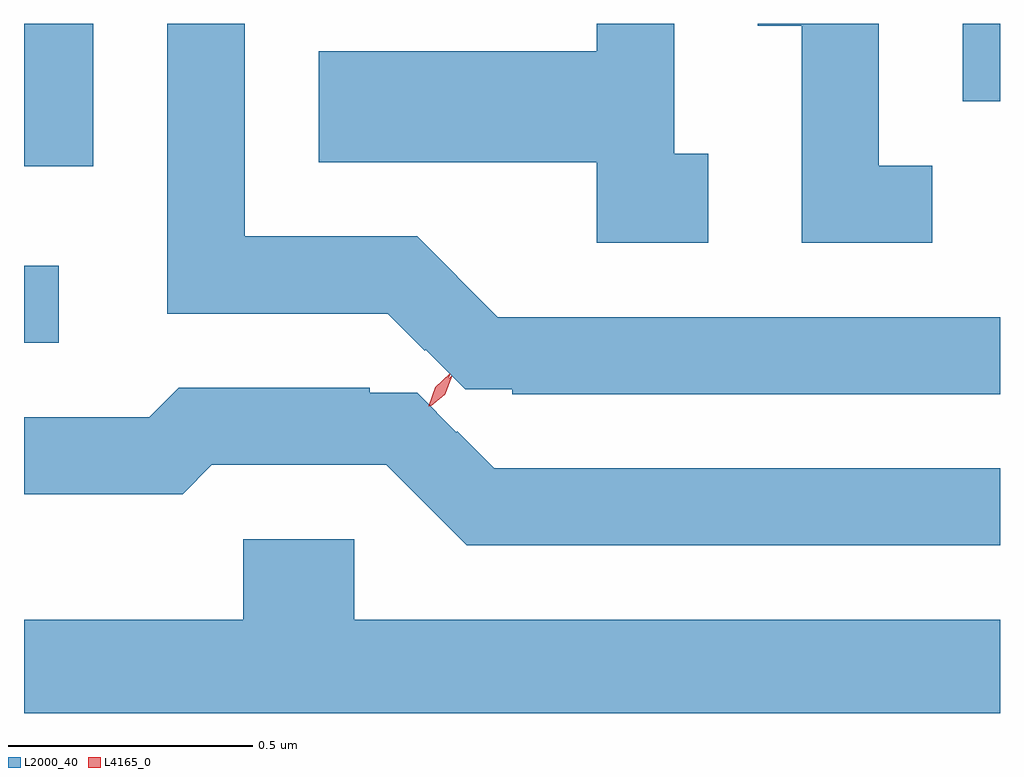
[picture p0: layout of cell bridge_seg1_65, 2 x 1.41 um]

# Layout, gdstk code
import gdstk
lib = gdstk.Library(unit=1e-6, precision=1e-09)
def R(c, l, rs):  # rectangles x0, y0, x1, y1
    for r in rs: c.add(gdstk.rectangle(r[:2], r[2:], *l))
def P(c, l, *ps):  # polygons
    for p in ps: c.add(gdstk.Polygon(p, *l))
L2000_40 = (2000, 40)
L4165_0 = (4165, 0)

bridge_seg1_65 = lib.new_cell('bridge_seg1_65')
R(bridge_seg1_65, L2000_40, [(1895.907,840.471,1895.978,840.629), (1895.907,840.833,1896.049,841.125), (1897.831,840.966,1897.907,841.125)])
P(bridge_seg1_65, L2000_40, [(1897.768,840.834),(1897.659,840.834),(1897.659,841.125),(1897.411,841.125),(1897.411,841.121),(1897.501,841.121),(1897.501,840.676),(1897.768,840.676)],
  [(1897.309,840.859),(1897.239,840.859),(1897.239,841.125),(1897.081,841.125),(1897.081,841.069),(1896.511,841.069),(1896.511,840.841),(1897.081,840.841),(1897.081,840.676),(1897.309,840.676)],
  [(1897.907,840.524),(1896.878,840.524),(1896.713,840.689),(1896.359,840.689),(1896.359,841.125),(1896.201,841.125),(1896.201,840.531),(1896.652,840.531),(1896.728,840.455),(1896.73,840.457),(1896.811,840.376),(1896.908,840.376),(1896.908,840.366),(1897.907,840.366)],
  [(1897.907,840.214),(1896.871,840.214),(1896.795,840.29),(1896.793,840.288),(1896.713,840.369),(1896.615,840.369),(1896.615,840.379),(1896.224,840.379),(1896.164,840.319),(1895.907,840.319),(1895.907,840.161),(1896.232,840.161),(1896.292,840.221),(1896.649,840.221),(1896.814,840.056),(1897.907,840.056)],
  [(1897.907,839.904),(1896.584,839.904),(1896.584,840.069),(1896.356,840.069),(1896.356,839.904),(1895.907,839.904),(1895.907,839.712),(1897.907,839.712)])
P(bridge_seg1_65, L4165_0, [(1896.736,840.341),(1896.736,840.342),(1896.75,840.38),(1896.779,840.408),(1896.779,840.408),(1896.78,840.408),(1896.766,840.369),(1896.737,840.341)],
  [(1896.74,840.341),(1896.74,840.342),(1896.754,840.378),(1896.783,840.403),(1896.784,840.403),(1896.784,840.402),(1896.77,840.366),(1896.741,840.341)])

lib.write_gds('bridge_seg1_65.gds')
